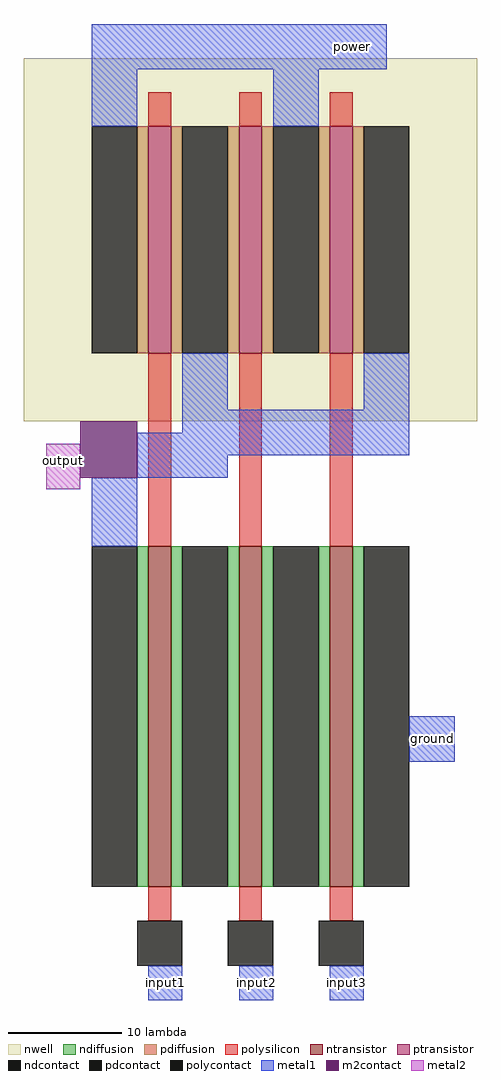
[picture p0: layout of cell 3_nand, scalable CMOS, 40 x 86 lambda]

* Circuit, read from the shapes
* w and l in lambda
.subckt 3_nand ground input1 input2 input3 output power
M1 n1 input1 output VSUBS nfet w=30 l=2
M2 n2 input2 n1 VSUBS nfet w=30 l=2
M3 ground input3 n2 VSUBS nfet w=30 l=2
M4 output input1 power n3 pfet w=20 l=2
M5 power input2 output n3 pfet w=20 l=2
M6 output input3 power n3 pfet w=20 l=2
.ends

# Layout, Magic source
magic
tech scmos
<< nwell >>
rect -12 -13 28 19
<< ntransistor >>
rect -1 -54 1 -24
rect 7 -54 9 -24
rect 15 -54 17 -24
<< ptransistor >>
rect -1 -7 1 13
rect 7 -7 9 13
rect 15 -7 17 13
<< ndiffusion >>
rect -2 -54 -1 -24
rect 1 -54 2 -24
rect 6 -54 7 -24
rect 9 -54 10 -24
rect 14 -54 15 -24
rect 17 -54 18 -24
<< pdiffusion >>
rect -2 -7 -1 13
rect 1 -7 2 13
rect 6 -7 7 13
rect 9 -7 10 13
rect 14 -7 15 13
rect 17 -7 18 13
<< ndcontact >>
rect -6 -54 -2 -24
rect 2 -54 6 -24
rect 10 -54 14 -24
rect 18 -54 22 -24
<< pdcontact >>
rect -6 -7 -2 13
rect 2 -7 6 13
rect 10 -7 14 13
rect 18 -7 22 13
<< polysilicon >>
rect -1 13 1 16
rect 7 13 9 16
rect 15 13 17 16
rect -1 -24 1 -7
rect 7 -24 9 -7
rect 15 -24 17 -7
rect -1 -57 1 -54
rect 7 -57 9 -54
rect 15 -57 17 -54
<< polycontact >>
rect -2 -61 2 -57
rect 6 -61 10 -57
rect 14 -61 18 -57
<< metal1 >>
rect -6 18 20 22
rect -6 13 -2 18
rect 10 13 14 18
rect 2 -12 6 -7
rect 18 -12 22 -7
rect 2 -14 22 -12
rect -2 -16 22 -14
rect -2 -18 6 -16
rect -6 -24 -2 -18
rect 22 -43 26 -39
rect -1 -64 2 -61
rect 7 -64 10 -61
rect 15 -64 18 -61
<< m2contact >>
rect -7 -18 -2 -13
<< metal2 >>
rect -10 -19 -7 -15
<< labels >>
rlabel metal1 14 18 20 22 5 power
rlabel metal1 22 -43 26 -39 7 ground
rlabel metal2 -10 -18 -7 -15 3 output
rlabel metal1 -1 -64 2 -61 1 input1
rlabel metal1 7 -64 10 -61 1 input2
rlabel metal1 15 -64 18 -61 1 input3
<< end >>
